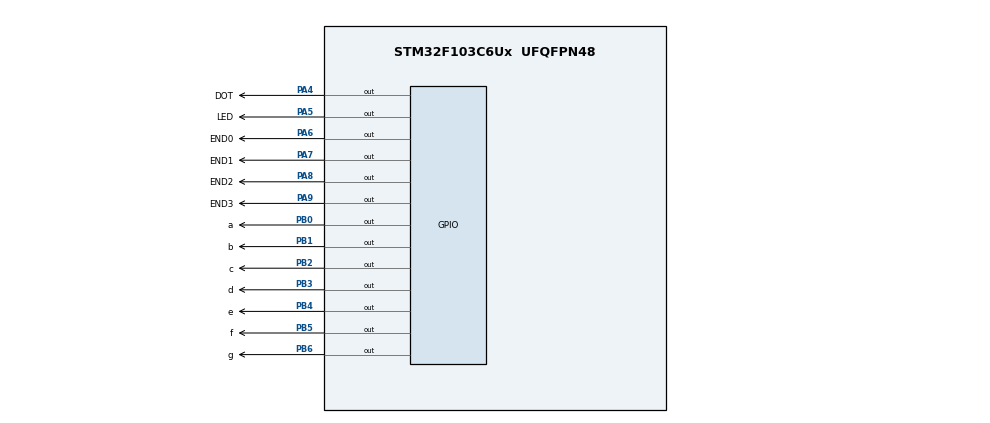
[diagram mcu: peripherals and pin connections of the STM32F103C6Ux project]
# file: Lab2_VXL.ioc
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Mcu.Family=STM32F1
Mcu.Name=STM32F103C6Ux
Mcu.Package=UFQFPN48
NVIC.PriorityGroup=NVIC_PRIORITYGROUP_4
NVIC.TIM2_IRQn=true\:0\:0\:false\:false\:true\:true\:true\:true
PA4.GPIO_Label=DOT
PA4.Signal=GPIO_Output
PA5.GPIO_Label=LED
PA5.Signal=GPIO_Output
PA6.GPIO_Label=END0
PA6.Signal=GPIO_Output
PA7.GPIO_Label=END1
PA7.Signal=GPIO_Output
PA8.GPIO_Label=END2
PA8.Signal=GPIO_Output
PA9.GPIO_Label=END3
PA9.Signal=GPIO_Output
PB0.GPIO_Label=a
PB0.Signal=GPIO_Output
PB1.GPIO_Label=b
PB1.Signal=GPIO_Output
PB2.GPIO_Label=c
PB2.Signal=GPIO_Output
PB3.GPIO_Label=d
PB3.Signal=GPIO_Output
PB4.GPIO_Label=e
PB4.Signal=GPIO_Output
PB5.GPIO_Label=f
PB5.Signal=GPIO_Output
PB6.GPIO_Label=g
PB6.Signal=GPIO_Output
ProjectManager.HeapSize=0x200
ProjectManager.StackSize=0x400
ProjectManager.TargetToolchain=STM32CubeIDE
RCC.APB1Freq_Value=8000000
RCC.APB2Freq_Value=8000000
TIM2.Period=9
TIM2.Prescaler=7999
VP_TIM2_VS_ClockSourceINT.Mode=Internal
board=custom

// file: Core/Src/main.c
/* USER CODE BEGIN Header */
/**
  ******************************************************************************
  * @file           : main.c
  * @brief          : Main program body
  ******************************************************************************
  * @attention
  *
  * Copyright (c) 2023 STMicroelectronics.
  * All rights reserved.
  *
  * This software is licensed under terms that can be found in the LICENSE file
  * in the root directory of this software component.
  * If no LICENSE file comes with this software, it is provided AS-IS.
  *
  ******************************************************************************
  */
/* USER CODE END Header */
#include "main.h"

TIM_HandleTypeDef htim2;

void SystemClock_Config(void);
static void MX_GPIO_Init(void);
static void MX_TIM2_Init(void);

/* USER CODE BEGIN 0 */
void display7SEG(int num)
{
	switch(num)
	{
		case 0:
		{
			  HAL_GPIO_WritePin(GPIOB, a_Pin, RESET);  //0
			  HAL_GPIO_WritePin(GPIOB, b_Pin, RESET);
			  HAL_GPIO_WritePin(GPIOB, c_Pin, RESET);
			  HAL_GPIO_WritePin(GPIOB, d_Pin, RESET);
			  HAL_GPIO_WritePin(GPIOB, e_Pin, RESET);
			  HAL_GPIO_WritePin(GPIOB, f_Pin, RESET);
			  HAL_GPIO_WritePin(GPIOB, g_Pin, SET);
			  break;
		}

		case 1:
		{
			  HAL_GPIO_WritePin(GPIOB, a_Pin, SET);	//1
			  HAL_GPIO_WritePin(GPIOB, b_Pin, RESET);
			  HAL_GPIO_WritePin(GPIOB, c_Pin, RESET);
			  HAL_GPIO_WritePin(GPIOB, d_Pin, SET);
			  HAL_GPIO_WritePin(GPIOB, e_Pin, SET);
			  HAL_GPIO_WritePin(GPIOB, f_Pin, SET);
			  HAL_GPIO_WritePin(GPIOB, g_Pin, SET);
			  break;
		}
		case 2:
		{
			  HAL_GPIO_WritePin(GPIOB, a_Pin, RESET);	//2
			  HAL_GPIO_WritePin(GPIOB, b_Pin, RESET);
			  HAL_GPIO_WritePin(GPIOB, c_Pin, SET);
			  HAL_GPIO_WritePin(GPIOB, d_Pin, RESET);
			  HAL_GPIO_WritePin(GPIOB, e_Pin, RESET);
			  HAL_GPIO_WritePin(GPIOB, f_Pin, SET);
			  HAL_GPIO_WritePin(GPIOB, g_Pin, RESET);
			  break;
		}
		case 3:
		{
			  HAL_GPIO_WritePin(GPIOB, a_Pin, RESET);	//3
			  HAL_GPIO_WritePin(GPIOB, b_Pin, RESET);
			  HAL_GPIO_WritePin(GPIOB, c_Pin, RESET);
			  HAL_GPIO_WritePin(GPIOB, d_Pin, RESET);
			  HAL_GPIO_WritePin(GPIOB, e_Pin, SET);
			  HAL_GPIO_WritePin(GPIOB, f_Pin, SET);
			  HAL_GPIO_WritePin(GPIOB, g_Pin, RESET);
			  break;
		}
		case 4:
		{
			  HAL_GPIO_WritePin(GPIOB, a_Pin, SET);	//4
			  HAL_GPIO_WritePin(GPIOB, b_Pin, RESET);
			  HAL_GPIO_WritePin(GPIOB, c_Pin, RESET);
			  HAL_GPIO_WritePin(GPIOB, d_Pin, SET);
			  HAL_GPIO_WritePin(GPIOB, e_Pin, SET);
			  HAL_GPIO_WritePin(GPIOB, f_Pin, RESET);
			  HAL_GPIO_WritePin(GPIOB, g_Pin, RESET);
			  break;
		}
		case 5:
		{
			  HAL_GPIO_WritePin(GPIOB, a_Pin, RESET);	//5
			  HAL_GPIO_WritePin(GPIOB, b_Pin, SET);
			  HAL_GPIO_WritePin(GPIOB, c_Pin, RESET);
			  HAL_GPIO_WritePin(GPIOB, d_Pin, RESET);
			  HAL_GPIO_WritePin(GPIOB, e_Pin, SET);
			  HAL_GPIO_WritePin(GPIOB, f_Pin, RESET);
			  HAL_GPIO_WritePin(GPIOB, g_Pin, RESET);
			  break;
		}
		case 6:
		{
			  HAL_GPIO_WritePin(GPIOB, a_Pin, RESET);	//6
			  HAL_GPIO_WritePin(GPIOB, b_Pin, SET);
			  HAL_GPIO_WritePin(GPIOB, c_Pin, RESET);
			  HAL_GPIO_WritePin(GPIOB, d_Pin, RESET);
			  HAL_GPIO_WritePin(GPIOB, e_Pin, RESET);
			  HAL_GPIO_WritePin(GPIOB, f_Pin, RESET);
			  HAL_GPIO_WritePin(GPIOB, g_Pin, RESET);
			  break;
		}
		case 7:
		{
			  HAL_GPIO_WritePin(GPIOB, a_Pin, RESET);	//7
			  HAL_GPIO_WritePin(GPIOB, b_Pin, RESET);
			  HAL_GPIO_WritePin(GPIOB, c_Pin, RESET);
			  HAL_GPIO_WritePin(GPIOB, d_Pin, SET);
			  HAL_GPIO_WritePin(GPIOB, e_Pin, SET);
			  HAL_GPIO_WritePin(GPIOB, f_Pin, SET);
			  HAL_GPIO_WritePin(GPIOB, g_Pin, SET);
			  break;
		}
		case 8:
		{
			  HAL_GPIO_WritePin(GPIOB, a_Pin, RESET);	//8
			  HAL_GPIO_WritePin(GPIOB, b_Pin, RESET);
			  HAL_GPIO_WritePin(GPIOB, c_Pin, RESET);
			  HAL_GPIO_WritePin(GPIOB, d_Pin, RESET);
			  HAL_GPIO_WritePin(GPIOB, e_Pin, RESET);
			  HAL_GPIO_WritePin(GPIOB, f_Pin, RESET);
			  HAL_GPIO_WritePin(GPIOB, g_Pin, RESET);
			  break;
		}
		case 9:
		{
			  HAL_GPIO_WritePin(GPIOB, a_Pin, RESET);	//9
			  HAL_GPIO_WritePin(GPIOB, b_Pin, RESET);
			  HAL_GPIO_WritePin(GPIOB, c_Pin, RESET);
			  HAL_GPIO_WritePin(GPIOB, d_Pin, RESET);
			  HAL_GPIO_WritePin(GPIOB, e_Pin, SET);
			  HAL_GPIO_WritePin(GPIOB, f_Pin, RESET);
			  HAL_GPIO_WritePin(GPIOB, g_Pin, RESET);
			  break;
		}
	}
}
const int MAX_LED = 4;
int index_led = 0;
int led_buffer[4] = {9, 6, 8, 1};
void update7SEG(int index)
{
	switch(index)
	{
		case 0:
		{
			HAL_GPIO_WritePin(END0_GPIO_Port, END0_Pin, RESET);
			HAL_GPIO_WritePin(END1_GPIO_Port, END1_Pin, SET);
			HAL_GPIO_WritePin(END2_GPIO_Port, END2_Pin, SET);
			HAL_GPIO_WritePin(END3_GPIO_Port, END3_Pin, SET);
			display7SEG(led_buffer[0]);
			break;
		}
		case 1:
		{
			HAL_GPIO_WritePin(END0_GPIO_Port, END0_Pin, SET);
			HAL_GPIO_WritePin(END1_GPIO_Port, END1_Pin, RESET);
			HAL_GPIO_WritePin(END2_GPIO_Port, END2_Pin, SET);
			HAL_GPIO_WritePin(END3_GPIO_Port, END3_Pin, SET);
			display7SEG(led_buffer[1]);
			break;
		}
		case 2:
		{
			HAL_GPIO_WritePin(END0_GPIO_Port, END0_Pin, SET);
			HAL_GPIO_WritePin(END1_GPIO_Port, END1_Pin, SET);
			HAL_GPIO_WritePin(END2_GPIO_Port, END2_Pin, RESET);
			HAL_GPIO_WritePin(END3_GPIO_Port, END3_Pin, SET);
			display7SEG(led_buffer[2]);
			break;
		}
		case 3:
		{
			HAL_GPIO_WritePin(END0_GPIO_Port, END0_Pin, SET);
			HAL_GPIO_WritePin(END1_GPIO_Port, END1_Pin, SET);
			HAL_GPIO_WritePin(END2_GPIO_Port, END2_Pin, SET);
			HAL_GPIO_WritePin(END3_GPIO_Port, END3_Pin, RESET);
			display7SEG(led_buffer[3]);
			break;
		}
		default:
			break;
	}
}

void updateClockBuffer(int hour, int min)
{
	if (hour <= 9)
	{
		led_buffer[0] = 0;
		led_buffer[1] = hour;
	}
	else
	{
		led_buffer[0] = hour/10;
		led_buffer[1] = hour%10;
	}
	if (min <= 9)
	{
		led_buffer[2] = 0;
		led_buffer[3] = min;
	}
	else
	{
		led_buffer[2] = min/10;
		led_buffer[3] = min%10;
	}
}
/* USER CODE END 0 */

int main(void)
{

  /* MCU Configuration--------------------------------------------------------*/

  /* Reset of all peripherals, Initializes the Flash interface and the Systick. */
  HAL_Init();

  /* Configure the system clock */
  SystemClock_Config();

  /* Initialize all configured peripherals */
  MX_GPIO_Init();
  MX_TIM2_Init();
  /* USER CODE BEGIN 2 */
  HAL_TIM_Base_Start_IT (&htim2);
  /* USER CODE END 2 */

  /* Infinite loop */
  /* USER CODE BEGIN WHILE */
  int hour = 15, minute = 8, second = 50;
  while (1)
  {
    /* USER CODE END WHILE */
	  second++;
	  if (second >= 60)
	  {
		  second = 0;
		  minute++;
	  }
	  if (minute >= 60)
	  {
		  minute = 0;
		  hour++;
	  }
	  if (hour >= 24)
	  {
		  hour = 0;
	  }
	  updateClockBuffer(hour, minute);
	  HAL_Delay(1000);
  }
}

void SystemClock_Config(void)
{
  RCC_OscInitTypeDef RCC_OscInitStruct = {0};
  RCC_ClkInitTypeDef RCC_ClkInitStruct = {0};

  /** Initializes the RCC Oscillators according to the specified parameters
  * in the RCC_OscInitTypeDef structure.
  */
  RCC_OscInitStruct.OscillatorType = RCC_OSCILLATORTYPE_HSI;
  RCC_OscInitStruct.HSIState = RCC_HSI_ON;
  RCC_OscInitStruct.HSICalibrationValue = RCC_HSICALIBRATION_DEFAULT;
  RCC_OscInitStruct.PLL.PLLState = RCC_PLL_NONE;
  if (HAL_RCC_OscConfig(&RCC_OscInitStruct) != HAL_OK)
  {
    Error_Handler();
  }

  /** Initializes the CPU, AHB and APB buses clocks
  */
  RCC_ClkInitStruct.ClockType = RCC_CLOCKTYPE_HCLK|RCC_CLOCKTYPE_SYSCLK
                              |RCC_CLOCKTYPE_PCLK1|RCC_CLOCKTYPE_PCLK2;
  RCC_ClkInitStruct.SYSCLKSource = RCC_SYSCLKSOURCE_HSI;
  RCC_ClkInitStruct.AHBCLKDivider = RCC_SYSCLK_DIV1;
  RCC_ClkInitStruct.APB1CLKDivider = RCC_HCLK_DIV1;
  RCC_ClkInitStruct.APB2CLKDivider = RCC_HCLK_DIV1;

  if (HAL_RCC_ClockConfig(&RCC_ClkInitStruct, FLASH_LATENCY_0) != HAL_OK)
  {
    Error_Handler();
  }
}

static void MX_TIM2_Init(void)
{

  TIM_ClockConfigTypeDef sClockSourceConfig = {0};
  TIM_MasterConfigTypeDef sMasterConfig = {0};

  htim2.Instance = TIM2;
  htim2.Init.Prescaler = 7999;
  htim2.Init.CounterMode = TIM_COUNTERMODE_UP;
  htim2.Init.Period = 9;
  htim2.Init.ClockDivision = TIM_CLOCKDIVISION_DIV1;
  htim2.Init.AutoReloadPreload = TIM_AUTORELOAD_PRELOAD_DISABLE;
  if (HAL_TIM_Base_Init(&htim2) != HAL_OK)
  {
    Error_Handler();
  }
  sClockSourceConfig.ClockSource = TIM_CLOCKSOURCE_INTERNAL;
  if (HAL_TIM_ConfigClockSource(&htim2, &sClockSourceConfig) != HAL_OK)
  {
    Error_Handler();
  }
  sMasterConfig.MasterOutputTrigger = TIM_TRGO_RESET;
  sMasterConfig.MasterSlaveMode = TIM_MASTERSLAVEMODE_DISABLE;
  if (HAL_TIMEx_MasterConfigSynchronization(&htim2, &sMasterConfig) != HAL_OK)
  {
    Error_Handler();
  }

}

static void MX_GPIO_Init(void)
{
  GPIO_InitTypeDef GPIO_InitStruct = {0};

  /* GPIO Ports Clock Enable */
  __HAL_RCC_GPIOA_CLK_ENABLE();
  __HAL_RCC_GPIOB_CLK_ENABLE();

  /*Configure GPIO pin Output Level */
  HAL_GPIO_WritePin(GPIOA, DOT_Pin|LED_Pin|END0_Pin|END1_Pin
                          |END2_Pin|END3_Pin, GPIO_PIN_RESET);

  /*Configure GPIO pin Output Level */
  HAL_GPIO_WritePin(GPIOB, a_Pin|b_Pin|c_Pin|d_Pin
                          |e_Pin|f_Pin|g_Pin, GPIO_PIN_RESET);

  /*Configure GPIO pins : DOT_Pin LED_Pin END0_Pin END1_Pin
                           END2_Pin END3_Pin */
  GPIO_InitStruct.Pin = DOT_Pin|LED_Pin|END0_Pin|END1_Pin
                          |END2_Pin|END3_Pin;
  GPIO_InitStruct.Mode = GPIO_MODE_OUTPUT_PP;
  GPIO_InitStruct.Pull = GPIO_NOPULL;
  GPIO_InitStruct.Speed = GPIO_SPEED_FREQ_LOW;
  HAL_GPIO_Init(GPIOA, &GPIO_InitStruct);

  /*Configure GPIO pins : a_Pin b_Pin c_Pin d_Pin
                           e_Pin f_Pin g_Pin */
  GPIO_InitStruct.Pin = a_Pin|b_Pin|c_Pin|d_Pin
                          |e_Pin|f_Pin|g_Pin;
  GPIO_InitStruct.Mode = GPIO_MODE_OUTPUT_PP;
  GPIO_InitStruct.Pull = GPIO_NOPULL;
  GPIO_InitStruct.Speed = GPIO_SPEED_FREQ_LOW;
  HAL_GPIO_Init(GPIOB, &GPIO_InitStruct);

}

/* USER CODE BEGIN 4 */
int counter = 0;
void HAL_TIM_PeriodElapsedCallback(TIM_HandleTypeDef *htim)
{
	if (index_led >= 4) index_led = 0;
	if (counter == 0)
	{
		HAL_GPIO_TogglePin(DOT_GPIO_Port, DOT_Pin);
		HAL_GPIO_WritePin(LED_GPIO_Port, LED_Pin, SET);
		update7SEG(index_led++);
	}
	if (counter == 25)
	{
		HAL_GPIO_WritePin(LED_GPIO_Port, LED_Pin, RESET);
		update7SEG(index_led++);
	}
	if (counter == 50)
	{
		HAL_GPIO_WritePin(LED_GPIO_Port, LED_Pin, SET);
		update7SEG(index_led++);
	}
	if (counter == 75)
	{
		HAL_GPIO_WritePin(LED_GPIO_Port, LED_Pin, RESET);
		update7SEG(index_led++);
	}
	if (counter >= 100)
		counter = -1;

	counter++;

}
/* USER CODE END 4 */

void Error_Handler(void)
{
  __disable_irq();
  while (1)
  {
  }
}
